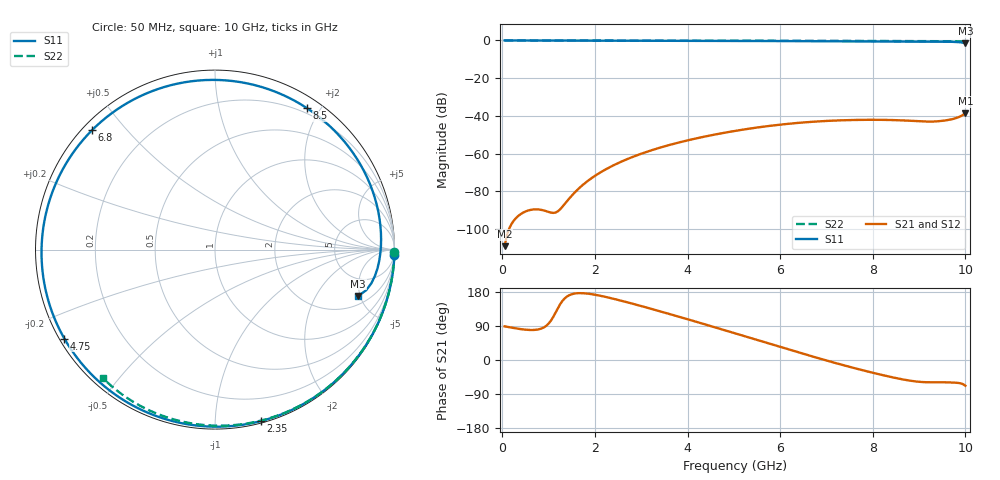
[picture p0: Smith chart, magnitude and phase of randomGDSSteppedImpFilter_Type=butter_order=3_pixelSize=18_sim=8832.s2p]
! freq	dB(S11)	phase(S11)	dB(S12)	phase(S12)
!  dB(S21)	phase(S21)	dB(S22)	phase(S22)
!S-par simulation data
#  GHz  S  DB  R 50
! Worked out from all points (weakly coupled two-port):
!   200 points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, 50 MHz to 10 GHz, reference 50 ohm
!   highest |S21| = -38.63 dB at 10 GHz (marker M1); lowest = -109.1 dB at 50 MHz (marker M2)
!   lowest |S11| = -1.5 dB at 10 GHz (marker M3), VSWR 11.40, Z = 138 - j240 ohm
!   |S11| at or under -10 dB: nowhere
!   |S22| runs from -0.4 to 0.0 dB; largest |S21 - S12| = 0
!   S11 on the Smith chart (normalised r, x): 50 MHz: 0, -70; 2.35 GHz: 0.02, -1.30; 4.75 GHz: 0.01, -0.27; 6.8 GHz: 0.03, +0.41; 8.5 GHz: 0.14, +1.83; 10 GHz: 2.76, -4.81
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0.05  -0.00 -1.6  -109.14 88.9  -109.14 88.9  -0.00 -0.8
0.75  -0.03 -24.4  -89.61 80.2  -89.61 80.2  -0.01 -11.3
1.55  -0.06 -49.9  -81.00 175.1  -81.00 175.1  -0.03 -23.2
1.75  -0.07 -56.2  -76.40 176.2  -76.40 176.2  -0.03 -26.1
2.35  -0.10 -75.0  -66.87 163.1  -66.87 163.1  -0.05 -34.9
2.85  -0.12 -90.4  -61.46 147.4  -61.46 147.4  -0.06 -42.0
3.4  -0.14 -107.2  -56.91 128.7  -56.91 128.7  -0.07 -49.8
4.05  -0.18 -127.3  -52.73 105.8  -52.73 105.8  -0.08 -58.7
4.75  -0.22 -149.5  -49.17 80.5  -49.17 80.5  -0.10 -68.1
5.05  -0.25 -159.3  -47.89 69.5  -47.89 69.5  -0.11 -72.0
5.9  -0.32 171.1  -44.94 38.3  -44.94 38.3  -0.14 -82.9
6.7  -0.39 140.0  -43.14 9.2  -43.14 9.2  -0.18 -92.8
6.8  -0.40 135.8  -42.98 5.7  -42.98 5.7  -0.18 -94.0
7.2  -0.43 118.6  -42.48 -8.1  -42.48 -8.1  -0.21 -98.9
7.6  -0.47 100.3  -42.19 -21.3  -42.19 -21.3  -0.23 -103.6
7.95  -0.50 83.7  -42.09 -32.2  -42.09 -32.2  -0.26 -107.7
8.35  -0.53 64.3  -42.19 -43.7  -42.19 -43.7  -0.29 -112.4
8.5  -0.54 57.0  -42.29 -47.7  -42.29 -47.7  -0.30 -114.1
8.95  -0.55 35.0  -42.82 -56.9  -42.82 -56.9  -0.34 -119.2
9.35  -0.58 15.6  -42.96 -58.8  -42.96 -58.8  -0.38 -123.8
9.75  -0.75 -4.0  -41.54 -59.6  -41.54 -59.6  -0.42 -128.3
10  -1.53 -17.9  -38.63 -68.0  -38.63 -68.0  -0.44 -131.1
